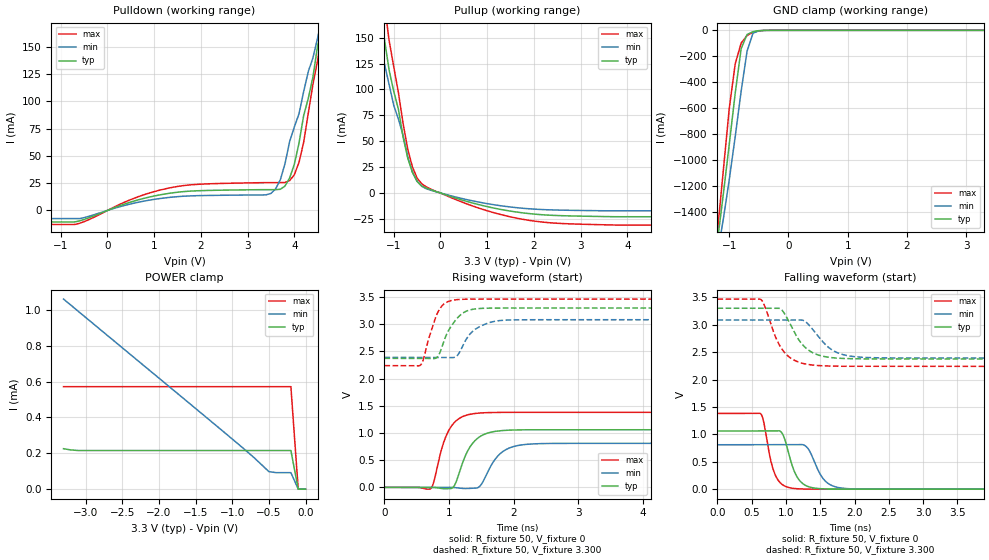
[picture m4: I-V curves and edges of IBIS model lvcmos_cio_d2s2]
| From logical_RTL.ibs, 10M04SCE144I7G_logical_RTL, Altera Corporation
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|MODEL lvcmos_cio_d2s2
[Model]   lvcmos_cio_d2s2
Model_type   I/O
Polarity   Non-Inverting
Enable Active-Low
Vinl   = 0.800
Vinh   = 1.700
Vmeas  = 1.650
Rref   = 10M
Cref   = 0pF
Vref   = 0.000
C_comp 4.5pF   4.5pF   4.5pF
[Model Spec]
Vinh   1.700   1.700   1.700
Vinl   0.800   0.800   0.800
[Temperature Range]   25   100   -40
[Voltage Range]   3.300   3.085   3.465
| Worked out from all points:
|   slope of the pulldown table from 0 to 0.495 V, typ, clamps not added: 64.6 ohm
|   slope of the pullup table from 0 to 0.495 V, typ, clamps not added: 68.1 ohm
|   GND clamp passes 1 mA (typ) near -0.44 V on its own axis
|   rising waveform, R_fixture 50, V_fixture 0: 20-80 % time 250ps typ, 270ps min, 225ps max; typ from 0 V to 1.06 V
|   falling waveform, R_fixture 50, V_fixture 0: 20-80 % time 170ps typ, 199ps min, 144ps max; typ from 1.06 V to 0 V
|   rising waveform, R_fixture 50, V_fixture 3.300: 20-80 % time 245ps typ, 274ps min, 195ps max; typ from 2.37 V to 3.3 V
|   falling waveform, R_fixture 50, V_fixture 3.300: 20-80 % time 285ps typ, 317ps min, 259ps max; typ from 3.3 V to 2.37 V
[GND Clamp]
| voltage   I (typ)   I (min)   I (max)
-3.3V     -8.619A    -7.629A    -10.51A
-1.2V     -1.623A    -1.724A    -1.549A
-1.1V     -1.258A    -1.45A     -1.073A
-1V       -874.3mA   -1.148A    -597.4mA
-900mV    -483mA     -818mA     -257.7mA
-800mV    -141mA     -468.4mA   -98.63mA
-700mV    -32.06mA   -160.8mA   -39.96mA
-600mV    -10.6mA    -22.19mA   -15.19mA
-500mV    -2.181mA   -3.852mA   -3.947mA
3.3V      0A         0A         0A
[Pulldown]
| voltage   I (typ)   I (min)   I (max)
-3.3V     -10.52mA   -7.474mA   -12.84mA
-700mV    -10.52mA   -7.474mA   -12.84mA
1.3V      15.54mA    11.84mA    20.38mA
3.5V      19.04mA    15.58mA    25.5mA
3.7V      19.39mA    28mA       25.5mA
3.8V      22.3mA     42.68mA    25.63mA
4V        42.23mA    76.44mA    32.71mA
4.1V      61.55mA    88.51mA    43.96mA
4.4V      122.6mA    140.1mA    115.8mA
4.5V      151.2mA    158.2mA    137.8mA
4.6V      165.2mA    178mA      166.6mA
6.5V      562.6mA    501.8mA    653.7mA
[Power Clamp]
| voltage   I (typ)   I (min)   I (max)
-3.3V     225.6uA    1.06mA     571.7uA
-3.1V     215.6uA    992.4uA    571.7uA
-1V       215.6uA    280uA      571.7uA
-700mV    215.6uA    174.9uA    571.7uA
-500mV    215.6uA    97.73uA    571.7uA
-400mV    215.6uA    92.15uA    571.7uA
-200mV    215.6uA    92.15uA    571.7uA
-100mV    0A         0A         0A
0V        0A         0A         0A
[Pullup]
| voltage   I (typ)   I (min)   I (max)
-3.3V     601.3mA    507.8mA    751.8mA
-1.4V     184.1mA    157.7mA    227.4mA
-1.3V     164.2mA    139.4mA    211.5mA
-1.2V     148.4mA    124.8mA    182.2mA
-1.1V     118.6mA    104.7mA    147.3mA
-900mV    80.7mA     71.25mA    96.69mA
-700mV    33.51mA    34.71mA    42.04mA
-500mV    11.1mA     11.35mA    14.34mA
-300mV    4.685mA    4.022mA    5.769mA
1V        -13.19mA   -10.3mA    -17.19mA
2.1V      -20.77mA   -15.84mA   -27.69mA
6.5V      -22.95mA   -17.19mA   -31.08mA
[Ramp]
dV/dt_r   6.364e-01/2.496e-10 4.860e-01/2.699e-10 8.284e-01/2.247e-10
dV/dt_f   5.555e-01/2.854e-10 4.161e-01/3.168e-10 7.351e-01/2.595e-10
R_load = 50ohms
[Rising Waveform]
R_fixture   = 50
V_fixture   = 0
V_fixture_min = 0
V_fixture_max = 0
| time   V (typ)   V (min)   V (max)
0s        227.2nV    4.811uV    63.23nV
718.3ps   479.3uV    10.93uV    -20.08mV
903ps     -24.66mV   151.7uV    779.3mV
998.7ps   -23.8mV    401.9uV    1.056V
1.088ns   45.39mV    -4.146mV   1.201V
1.361ns   807.3mV    -16.34mV   1.353V
1.491ns   943.9mV    43.16mV    1.369V
1.799ns   1.043V     629mV      1.379V
2.148ns   1.058V     785.1mV    1.381V
6.834ns   1.061V     810mV      1.381V
[Falling Waveform]
R_fixture   = 50
V_fixture   = 0
V_fixture_min = 0
V_fixture_max = 0
| time   V (typ)   V (min)   V (max)
0s        1.061V     810mV      1.381V
629.3ps   1.061V     810mV      1.376V
839ps     1.062V     810mV      269.9mV
954ps     995.9mV    810mV      76.12mV
1.083ns   457.8mV    810.1mV    18.29mV
1.177ns   191mV      812.1mV    6.438mV
1.292ns   63.66mV    779.5mV    1.793mV
1.556ns   5.033mV    169.7mV    90.48uV
1.834ns   331.7uV    16.17mV    3.92uV
6.759ns   681.6nV    4.866uV    396.8nV
[Rising Waveform]
R_fixture   = 50
V_fixture   = 3.300
V_fixture_min   = 3.085
V_fixture_max   = 3.465
| time   V (typ)   V (min)   V (max)
0s        2.374V     2.391V     2.24V
560.9ps   2.374V     2.391V     2.252V
595.1ps   2.374V     2.391V     2.329V
834.6ps   2.424V     2.391V     3.243V
964.5ps   2.823V     2.388V     3.408V
1.088ns   3.057V     2.395V     3.45V
1.218ns   3.211V     2.619V     3.461V
1.382ns   3.28V      2.889V     3.464V
1.785ns   3.299V     3.069V     3.465V
6.834ns   3.3V       3.085V     3.465V
[Falling Waveform]
R_fixture   = 50
V_fixture   = 3.300
V_fixture_min   = 3.085
V_fixture_max   = 3.465
| time   V (typ)   V (min)   V (max)
0s        3.3V       3.085V     3.465V
636ps     3.3V       3.085V     3.456V
696.9ps   3.3V       3.085V     3.314V
852.5ps   3.3V       3.085V     2.757V
954ps     3.245V     3.085V     2.53V
1.184ns   2.728V     3.086V     2.317V
1.34ns    2.525V     2.986V     2.271V
1.664ns   2.399V     2.545V     2.244V
2.043ns   2.377V     2.411V     2.24V
6.759ns   2.374V     2.391V     2.24V
